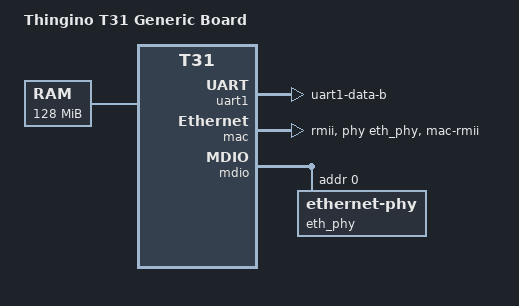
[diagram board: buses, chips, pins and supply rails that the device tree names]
// SPDX-License-Identifier: GPL-2.0
/dts-v1/;

#include "t31.dtsi"

/ {
	compatible = "thingino,t31", "ingenic,t31";
	model = "Thingino T31 Generic Board";

	aliases {
		serial1 = &uart1;
	};

	chosen {
		stdout-path = "serial1:115200n8";
	};

	memory@0 {
		device_type = "memory";
		reg = <0x0 0x8000000>;
	};
};

&exclk {
	clock-frequency = <24000000>;
};

&uart1 {
	status = "okay";

	pinctrl-names = "default";
	pinctrl-0 = <&pins_uart1>;
};

&mac {
	status = "okay";

	phy-mode = "rmii";
	phy-handle = <&eth_phy>;

	pinctrl-names = "default";
	pinctrl-0 = <&pins_mac>;
};

&mdio {
	eth_phy: ethernet-phy@0 {
		reg = <0>;
	};
};

&pinctrl {
	pins_uart1: uart1 {
		function = "uart1";
		groups = "uart1-data-b";
	};

	pins_mac: mac {
		function = "mac";
		groups = "mac-rmii";
	};
};
